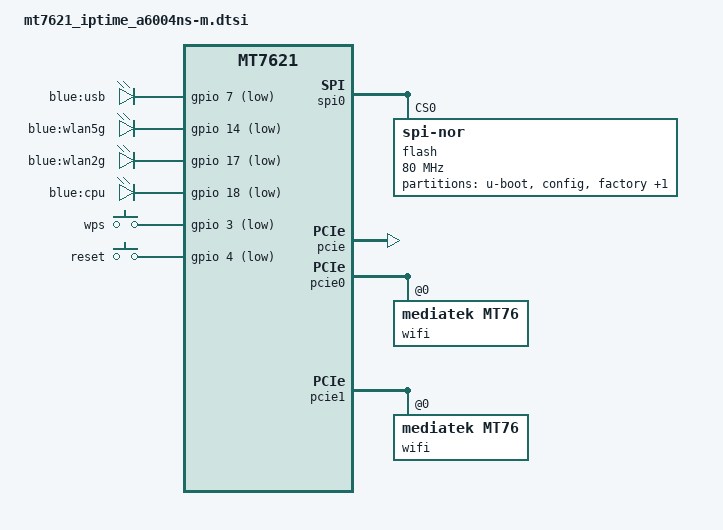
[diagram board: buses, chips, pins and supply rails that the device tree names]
// SPDX-License-Identifier: GPL-2.0-or-later OR MIT

#include "mt7621.dtsi"

#include <dt-bindings/gpio/gpio.h>
#include <dt-bindings/input/input.h>

/ {
	aliases {
		led-boot = &led_cpu;
		led-failsafe = &led_cpu;
		led-running = &led_cpu;
		led-upgrade = &led_cpu;
		label-mac-device = &gmac0;
	};

	leds {
		compatible = "gpio-leds";

		usb {
			label = "blue:usb";
			gpios = <&gpio 7 GPIO_ACTIVE_LOW>;
			trigger-sources = <&xhci_ehci_port1>;
			linux,default-trigger = "usbport";
		};

		wlan5g {
			label = "blue:wlan5g";
			gpios = <&gpio 14 GPIO_ACTIVE_LOW>;
			linux,default-trigger = "phy0radio";
		};

		wlan2g {
			label = "blue:wlan2g";
			gpios = <&gpio 17 GPIO_ACTIVE_LOW>;
			linux,default-trigger = "phy1radio";
		};

		led_cpu: cpu {
			label = "blue:cpu";
			gpios = <&gpio 18 GPIO_ACTIVE_LOW>;
		};
	};

	keys {
		compatible = "gpio-keys";

		wps {
			label = "wps";
			gpios = <&gpio 3 GPIO_ACTIVE_LOW>;
			linux,code = <KEY_WPS_BUTTON>;
		};

		reset {
			label = "reset";
			gpios = <&gpio 4 GPIO_ACTIVE_LOW>;
			linux,code = <KEY_RESTART>;
		};
	};
};

&spi0 {
	status = "okay";

	flash@0 {
		compatible = "jedec,spi-nor";
		reg = <0>;
		spi-max-frequency = <80000000>;
		m25p,fast-read;

		partitions {
			compatible = "fixed-partitions";
			#address-cells = <1>;
			#size-cells = <1>;

			uboot: partition@0 {
				label = "u-boot";
				reg = <0x0 0x20000>;
				read-only;
			};

			partition@20000 {
				label = "config";
				reg = <0x20000 0x10000>;
				read-only;
			};

			factory: partition@30000 {
				label = "factory";
				reg = <0x30000 0x10000>;
				read-only;
			};

			partition@40000 {
				compatible = "denx,uimage";
				label = "firmware";
				reg = <0x40000 0xfc0000>;
			};
		};
	};
};

&state_default {
	gpio {
		groups = "i2c", "uart3", "jtag", "wdt";
		function = "gpio";
	};
};

&gmac0 {
	nvmem-cells = <&macaddr_uboot_1fc20>;
	nvmem-cell-names = "mac-address";
};

&switch0 {
	ports {
		port@0 {
			status = "okay";
			label = "wan";
			nvmem-cells = <&macaddr_uboot_1fc40>;
			nvmem-cell-names = "mac-address";
		};

		port@1 {
			status = "okay";
			label = "lan1";
		};

		port@2 {
			status = "okay";
			label = "lan2";
		};

		port@3 {
			status = "okay";
			label = "lan3";
		};

		port@4 {
			status = "okay";
			label = "lan4";
		};
	};
};

&pcie {
	status = "okay";
};

&pcie0 {
	wifi@0,0 {
		compatible = "mediatek,mt76";
		reg = <0x0000 0 0 0 0>;
		mediatek,mtd-eeprom = <&factory 0x0>;
		ieee80211-freq-limit = <5000000 6000000>;
	};
};

&pcie1 {
	wifi@0,0 {
		compatible = "mediatek,mt76";
		reg = <0x0000 0 0 0 0>;
		mediatek,mtd-eeprom = <&factory 0x8000>;
		ieee80211-freq-limit = <2400000 2500000>;
	};
};

&uboot {
	compatible = "nvmem-cells";
	#address-cells = <1>;
	#size-cells = <1>;

	macaddr_uboot_1fc20: macaddr@1fc20 {
		reg = <0x1fc20 0x6>;
	};

	macaddr_uboot_1fc40: macaddr@1fc40 {
		reg = <0x1fc40 0x6>;
	};
};
